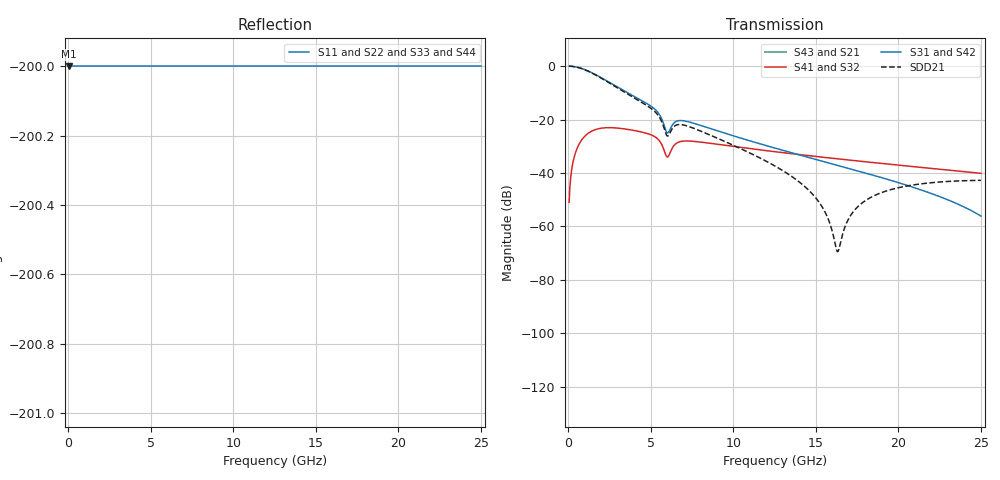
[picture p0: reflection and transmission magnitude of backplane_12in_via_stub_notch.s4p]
! Synthetic 12 in backplane pair with a via-stub resonance near 6 GHz (a notch in the through response). Ports: P1,P2 in -> P3,P4 out. Generated for DAW_LAB.
# GHz S RI R 50
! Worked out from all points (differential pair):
!   500 points, 50 MHz to 25 GHz, reference 50 ohm
!   strongest paths, dB at 50 MHz, 6.3 GHz, 12.55 GHz, 18.8 GHz, 25 GHz:
!     S31: 0.0, -22.1, -30.7, -41.4, -56.1
!     S42: 0.0, -22.3, -31.0, -41.7, -56.4
!     S41: -51.0, -30.7, -32.1, -36.3, -40.1
!     S32: -51.0, -30.9, -32.3, -36.6, -40.4
!     S43: -, -, -, -, -
!     S21: -, -, -, -, -
!   taken as a pair (ports 1,2 in; 3,4 out), SDD21 dB: 0.0, -23.4, -37.5, -47.8, -42.8
!   lowest |S11| = - dB at 50 MHz (marker M1), VSWR 1.00, Z = 50 + j0 ohm
!   |S11| at or under -10 dB: start of sweep to end of sweep
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0.05  0 0  0 0  0.7745 -0.6319  -0.00179 -0.00219
      0 0  0 0  -0.00181 -0.00217  0.768 -0.6398
      0.7745 -0.6319  -0.00181 -0.00217  0 0  0 0
      -0.00179 -0.00219  0.768 -0.6398  0 0  0 0
0.35  0 0  0 0  0.0749 0.9778  0.0194 -0.00148
      0 0  0 0  0.0192 -0.00286  0.1444 0.9694
      0.0749 0.9778  0.0192 -0.00286  0 0  0 0
      0.0194 -0.00148  0.1444 0.9694  0 0  0 0
0.55  0 0  0 0  0.3114 -0.9014  -0.028 -0.00969
      0 0  0 0  -0.0289 -0.00648  0.2083 -0.9293
      0.3114 -0.9014  -0.0289 -0.00648  0 0  0 0
      -0.028 -0.00969  0.2083 -0.9293  0 0  0 0
0.8  0 0  0 0  -0.0595 0.9048  0.041 0.00269
     0 0  0 0  0.0407 -0.00396  0.0874 0.8999
     -0.0595 0.9048  0.0407 -0.00396  0 0  0 0
     0.041 0.00269  0.0874 0.8999  0 0  0 0
1.05  0 0  0 0  -0.1613 -0.8339  -0.0496 0.00959
      0 0  0 0  -0.0462 0.0197  -0.3321 -0.7775
      -0.1613 -0.8339  -0.0462 0.0197  0 0  0 0
      -0.0496 0.00959  -0.3321 -0.7775  0 0  0 0
1.25  0 0  0 0  -0.1901 0.776  0.0549 0.0135
      0 0  0 0  0.0562 -0.000677  0.00957 0.7941
      -0.1901 0.776  0.0562 -0.000677  0 0  0 0
      0.0549 0.0135  0.00957 0.7941  0 0  0 0
25  0 0  0 0  -0.000583 0.00145  0.00914 0.00368
    0 0  0 0  -0.00269 0.00918  -0.00145 -0.000427
    -0.000583 0.00145  -0.00269 0.00918  0 0  0 0
    0.00914 0.00368  -0.00145 -0.000427  0 0  0 0
